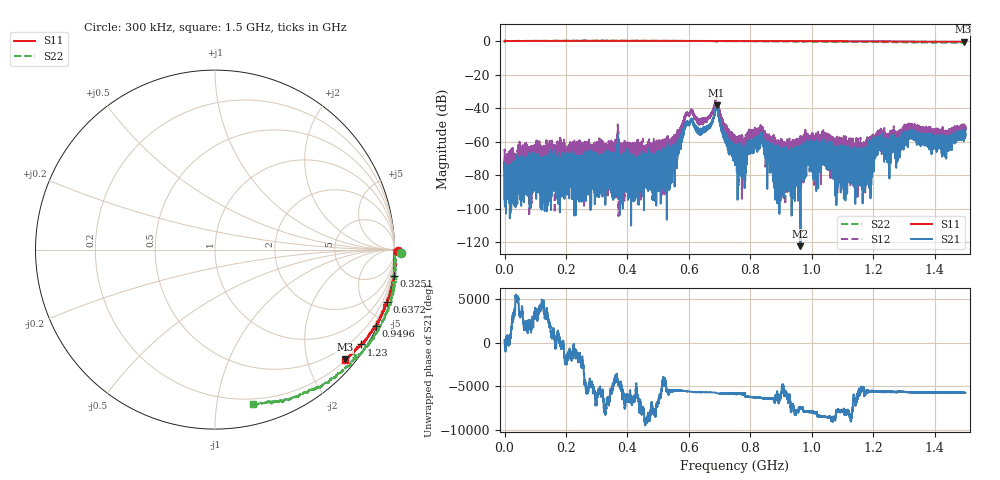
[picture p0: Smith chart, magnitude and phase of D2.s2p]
!Agilent Technologies,N5230C,SG49000117,A.08.50.07
!Agilent N5230C: A.08.50.07
!Date: Thursday, December 07, 2023 06:02:33
!Correction: S11(Full 2 Port(1,2))
!S21(Full 2 Port(1,2))
!S12(Full 2 Port(1,2))
!S22(Full 2 Port(1,2))
!S2P File: Measurements: S11, S21, S12, S22:
# Hz S  RI  R 50
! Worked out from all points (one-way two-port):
!   20001 points, 300 kHz to 1.5 GHz, reference 50 ohm
!   highest |S21| = -38.43 dB at 690.4 MHz (marker M1); lowest = -122.2 dB at 963.2 MHz (marker M2)
!   lowest |S11| = -0.5 dB at 1.494 GHz (marker M3), VSWR 36.84, Z = 11.4 - j136 ohm
!   |S11| at or under -10 dB: nowhere
!   |S22| runs from -1.1 to 0.3 dB; largest |S21 - S12| = 0.011
!   S11 on the Smith chart (normalised r, x): 300 kHz: -85, -42; 325.1 MHz: -1, -14; 637.2 MHz: -0.04, -6.74; 949.6 MHz: 0.10, -4.44; 1.23 GHz: 0.18, -3.37; 1.5 GHz: 0.21, -2.72
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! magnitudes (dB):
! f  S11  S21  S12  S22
! 300 kHz  0.2  -75.3  -73.9  0.3
! 250.3 MHz  0.1  -74.5  -67.2  0.2
! 325.1 MHz  0.1  -74.5  -66.8  0.2
! 500.2 MHz  0.1  -84.9  -61.7  0.1
! 550.8 MHz  0.1  -74.3  -61.8  0.1
! 594 MHz  0.0  -48.8  -42.6  0.0
! 637.2 MHz  0.0  -55.3  -47.8  0.0
! 690.4 MHz  -0.1  -38.4  -33.2  -0.3
! 750.1 MHz  0.0  -70.3  -64.1  -0.1
! 776.9 MHz  0.0  -67.1  -60.9  -0.2
! 833.7 MHz  0.0  -59.8  -54.3  -0.2
! 888.1 MHz  -0.1  -69.3  -73.8  -0.3
! 949.6 MHz  -0.1  -77.3  -63.8  -0.3
! 963.2 MHz  -0.1  -122.2  -60.9  -0.3
! 1 GHz  -0.1  -73.1  -59.0  -0.3
! 1.167 GHz  -0.2  -72.3  -69.9  -0.6
! 1.23 GHz  -0.3  -60.3  -55.0  -0.7
! 1.25 GHz  -0.3  -60.8  -60.2  -0.6
! 1.32 GHz  -0.3  -55.8  -51.9  -0.8
! 1.439 GHz  -0.4  -60.6  -54.9  -1.0
! 1.494 GHz  -0.5  -56.5  -50.5  -1.0
! 1.5 GHz  -0.4  -55.3  -51.4  -1.1
